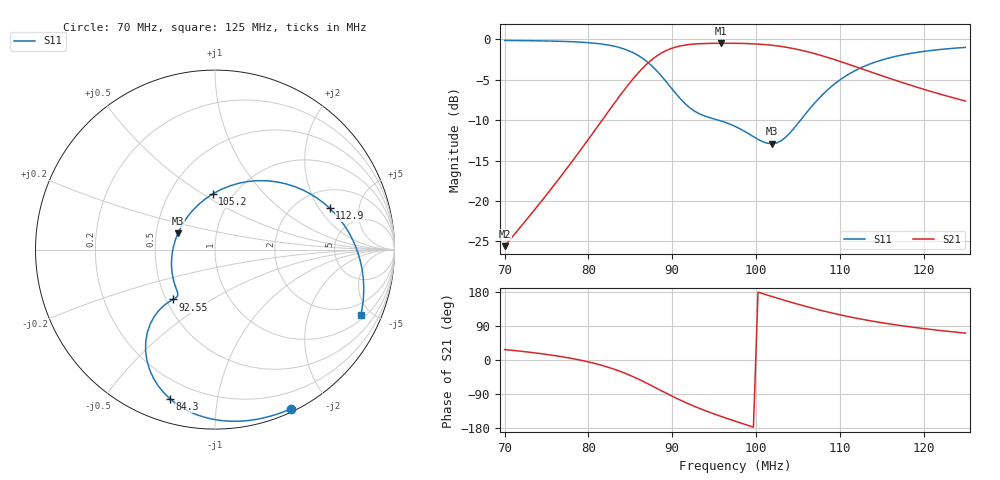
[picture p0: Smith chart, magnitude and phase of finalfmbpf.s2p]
# HZ S RI R 50
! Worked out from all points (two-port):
!   101 points, 70 MHz to 125 MHz, reference 50 ohm
!   highest |S21| = -0.50 dB at 95.85 MHz (marker M1); lowest = -25.6 dB at 70 MHz (marker M2)
!   |S21| within 3 dB of the highest: 86.55 MHz to 112.2 MHz (25.64 MHz wide, 25.8 % of centre)
!   lowest |S11| = -12.9 dB at 101.9 MHz (marker M3), VSWR 1.58, Z = 32.4 + j6.24 ohm
!   |S11| at or under -10 dB: 95.49 MHz to 105.3 MHz (9.829 MHz wide, 9.79 % of centre)
!   S12 and S22 are empty: the file has one direction only
!   S11 on the Smith chart (normalised r, x): 70 MHz: 0.03, -1.58; 84.3 MHz: 0.11, -0.74; 92.55 MHz: 0.54, -0.35; 105.2 MHz: 0.81, +0.55; 112.9 MHz: 2.94, +2.52; 125 MHz: 1.23, -4.33
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7e7  0.4234 -0.8871  0.0467 0.0243  0 0  0 0
7.495e7  0.2659 -0.9385  0.1048 0.0279  0 0  0 0
7.935e7  0.0651 -0.955  0.2164 -0.00704  0 0  0 0
8.21e7  -0.1018 -0.9199  0.3253 -0.102  0 0  0 0
8.43e7  -0.2493 -0.833  0.4025 -0.2753  0 0  0 0
8.65e7  -0.3652 -0.6672  0.3703 -0.552  0 0  0 0
8.87e7  -0.3766 -0.4595  0.129 -0.8108  0 0  0 0
9.035e7  -0.317 -0.344  -0.1442 -0.8811  0 0  0 0
9.255e7  -0.2339 -0.2774  -0.484 -0.798  0 0  0 0
9.42e7  -0.2082 -0.2573  -0.6743 -0.6581  0 0  0 0
9.585e7  -0.2121 -0.2292  -0.8087 -0.4878  0 0  0 0
9.75e7  -0.2294 -0.1768  -0.8938 -0.3026  0 0  0 0
9.97e7  -0.2422 -0.0623  -0.9356 -0.0474  0 0  0 0
1.019e8  -0.2066 0.0914  -0.8966 0.1966  0 0  0 0
1.0355e8  -0.131 0.2109  -0.82 0.3548  0 0  0 0
1.052e8  -0.0127 0.3102  -0.7135 0.4801  0 0  0 0
1.0685e8  0.1363 0.3706  -0.591 0.5672  0 0  0 0
1.096e8  0.3974 0.3658  -0.3866 0.6334  0 0  0 0
1.129e8  0.6396 0.2299  -0.1848 0.6225  0 0  0 0
1.162e8  0.7721 0.0437  -0.0435 0.5661  0 0  0 0
1.2005e8  0.8261 -0.1598  0.0609 0.4865  0 0  0 0
1.25e8  0.8121 -0.3655  0.1358 0.3926  0 0  0 0
